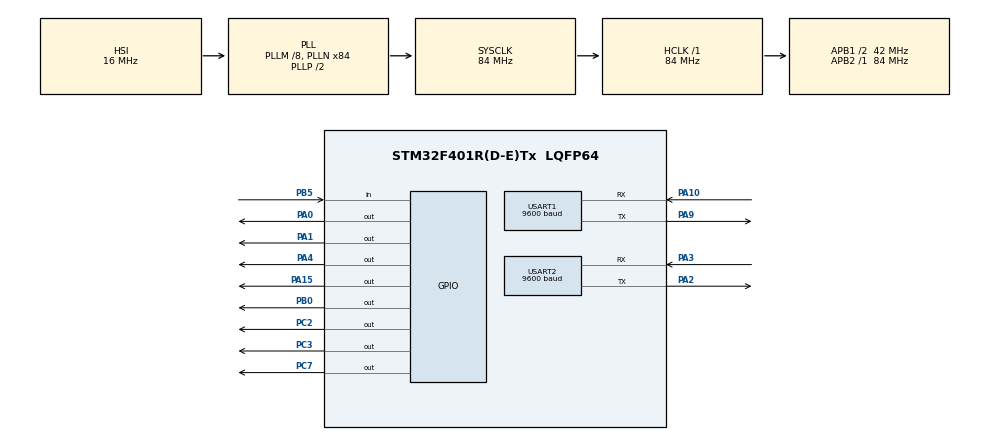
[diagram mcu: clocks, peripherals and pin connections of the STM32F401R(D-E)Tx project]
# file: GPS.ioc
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Dma.Request0=USART1_RX
Dma.USART1_RX.0.Direction=DMA_PERIPH_TO_MEMORY
Dma.USART1_RX.0.FIFOMode=DMA_FIFOMODE_DISABLE
Dma.USART1_RX.0.Instance=DMA2_Stream2
Dma.USART1_RX.0.MemDataAlignment=DMA_MDATAALIGN_BYTE
Dma.USART1_RX.0.MemInc=DMA_MINC_ENABLE
Dma.USART1_RX.0.Mode=DMA_CIRCULAR
Dma.USART1_RX.0.PeriphDataAlignment=DMA_PDATAALIGN_BYTE
Dma.USART1_RX.0.PeriphInc=DMA_PINC_DISABLE
Dma.USART1_RX.0.Priority=DMA_PRIORITY_LOW
Mcu.Family=STM32F4
Mcu.Name=STM32F401R(D-E)Tx
Mcu.Package=LQFP64
NVIC.DMA2_Stream2_IRQn=true\:0\:0\:false\:false\:true\:false\:true\:true
NVIC.PriorityGroup=NVIC_PRIORITYGROUP_4
NVIC.USART2_IRQn=true\:0\:0\:false\:false\:true\:true\:true\:true
PA0-WKUP.Signal=GPIO_Output
PA1.Signal=GPIO_Output
PA10.Mode=Asynchronous
PA10.Signal=USART1_RX
PA13.Mode=Serial_Wire
PA13.Signal=SYS_JTMS-SWDIO
PA14.Mode=Serial_Wire
PA14.Signal=SYS_JTCK-SWCLK
PA15.Signal=GPIO_Output
PA2.Mode=Asynchronous
PA2.Signal=USART2_TX
PA3.Mode=Asynchronous
PA3.Signal=USART2_RX
PA4.Signal=GPIO_Output
PA9.Mode=Asynchronous
PA9.Signal=USART1_TX
PB0.Signal=GPIO_Output
PB5.Signal=GPIO_Input
PC14-OSC32_IN.Mode=LSE-External-Oscillator
PC14-OSC32_IN.Signal=RCC_OSC32_IN
PC15-OSC32_OUT.Mode=LSE-External-Oscillator
PC15-OSC32_OUT.Signal=RCC_OSC32_OUT
PC2.Signal=GPIO_Output
PC3.Signal=GPIO_Output
PC7.Signal=GPIO_Output
PH0\ -\ OSC_IN.Mode=HSE-External-Oscillator
PH0\ -\ OSC_IN.Signal=RCC_OSC_IN
PH1\ -\ OSC_OUT.Mode=HSE-External-Oscillator
PH1\ -\ OSC_OUT.Signal=RCC_OSC_OUT
ProjectManager.HeapSize=0x200
ProjectManager.StackSize=0x400
ProjectManager.TargetToolchain=STM32CubeIDE
RCC.48MHZClocksFreq_Value=42000000
RCC.AHBFreq_Value=84000000
RCC.APB1CLKDivider=RCC_HCLK_DIV2
RCC.APB1Freq_Value=42000000
RCC.APB1TimFreq_Value=84000000
RCC.APB2Freq_Value=84000000
RCC.APB2TimFreq_Value=84000000
RCC.CortexFreq_Value=84000000
RCC.HCLKFreq_Value=84000000
RCC.HSE_VALUE=25000000
RCC.HSI_VALUE=16000000
RCC.PLLM=8
RCC.PLLN=84
RCC.SYSCLKFreq_VALUE=84000000
RCC.SYSCLKSource=RCC_SYSCLKSOURCE_PLLCLK
RCC.VCOOutputFreq_Value=168000000
TIM1.Period=0xffff-1
TIM1.Prescaler=72-1
USART1.BaudRate=9600
USART1.VirtualMode=VM_ASYNC
USART2.BaudRate=9600
USART2.VirtualMode=VM_ASYNC
VP_TIM1_VS_ClockSourceINT.Mode=Internal
board=custom

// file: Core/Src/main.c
/* USER CODE BEGIN Header */
/**
  ******************************************************************************
  * @file           : main.c
  * @brief          : Main program body
  ******************************************************************************
  * @attention
  *
  * Copyright (c) 2024 STMicroelectronics.
  * All rights reserved.
  *
  * This software is licensed under terms that can be found in the LICENSE file
  * in the root directory of this software component.
  * If no LICENSE file comes with this software, it is provided AS-IS.
  *
  ******************************************************************************
  */
/* USER CODE END Header */
#include "main.h"

/* USER CODE BEGIN Includes */
#include <stdio.h>
#include <string.h>
#include <stdlib.h>
#include "LCD1602.h"
#include <math.h>
/* USER CODE END Includes */

TIM_HandleTypeDef htim1;

UART_HandleTypeDef huart1;
UART_HandleTypeDef huart2;
DMA_HandleTypeDef hdma_usart1_rx;

/* USER CODE BEGIN PV */
#define BUFFER_SIZE 128
#define EARTH_RADIUS 6371000
#define WINDOW_SIZE 4
#define MOTION_THRESHOLD  0.005

char message[BUFFER_SIZE];
int bufferIndex = 0;
uint8_t Rxdata[750];
char Txdata[750];
uint8_t Flag=0;

int Hours, Min, Sec;
char *ptr;
char GPS_Payyload[100];

float Time,Latitude,Longitude;

float lat_window[WINDOW_SIZE] = {0};
float lon_window[WINDOW_SIZE] = {0};
int window_index = 0;
int window_filled = 0;
/* USER CODE END PV */

void SystemClock_Config(void);
static void MX_GPIO_Init(void);
static void MX_DMA_Init(void);
static void MX_USART2_UART_Init(void);
static void MX_USART1_UART_Init(void);
static void MX_TIM1_Init(void);
/* USER CODE BEGIN PFP */
void send_message(char *message) {
    HAL_UART_Transmit(&huart2, (uint8_t*)message, strlen(message), HAL_MAX_DELAY);
}
void get_location(void);
void check_PIR_and_control(void);
void Format_data(float Time, float Lat, float Long);
double haversine(double lat1, double lon1, double lat2, double lon2);

/* USER CODE END PFP */

/* USER CODE BEGIN 0 */
int row = 0;
int col = 0;
/* USER CODE END 0 */

int main(void)
{

  /* MCU Configuration--------------------------------------------------------*/

  /* Reset of all peripherals, Initializes the Flash interface and the Systick. */
  HAL_Init();

  /* Configure the system clock */
  SystemClock_Config();

  /* Initialize all configured peripherals */
  MX_GPIO_Init();
  MX_DMA_Init();
  MX_USART2_UART_Init();
  MX_USART1_UART_Init();
  MX_TIM1_Init();
  /* USER CODE BEGIN 2 */
  HAL_UART_Receive_DMA(&huart1, (uint8_t*)Rxdata, 700);
  HAL_TIM_Base_Start(&htim1);

  lcd_init();
  lcd_put_cur(0, 0);
  lcd_send_string("GPS Initializing");
  lcd_put_cur(1, 0);
  lcd_send_string("Please wait...");
  HAL_Delay(3000);
  lcd_clear();
  /* USER CODE END 2 */

  /* Infinite loop */
  while (1)
  {

    /* USER CODE BEGIN 3 */
      get_location();
      //HAL_GPIO_WritePin(GPIOC, GPIO_PIN_7, GPIO_PIN_SET);
      HAL_Delay(1000);  // Update every second
	  //send_message("Hello");
	  //HAL_Delay(1000);
	  //send_message("A message is being sent");
	  //check_PIR_and_control();

  }
  /* USER CODE END 3 */
}

void SystemClock_Config(void)
{
  RCC_OscInitTypeDef RCC_OscInitStruct = {0};
  RCC_ClkInitTypeDef RCC_ClkInitStruct = {0};

  /** Configure the main internal regulator output voltage
  */
  __HAL_RCC_PWR_CLK_ENABLE();
  __HAL_PWR_VOLTAGESCALING_CONFIG(PWR_REGULATOR_VOLTAGE_SCALE2);

  /** Initializes the RCC Oscillators according to the specified parameters
  * in the RCC_OscInitTypeDef structure.
  */
  RCC_OscInitStruct.OscillatorType = RCC_OSCILLATORTYPE_HSI;
  RCC_OscInitStruct.HSIState = RCC_HSI_ON;
  RCC_OscInitStruct.HSICalibrationValue = RCC_HSICALIBRATION_DEFAULT;
  RCC_OscInitStruct.PLL.PLLState = RCC_PLL_ON;
  RCC_OscInitStruct.PLL.PLLSource = RCC_PLLSOURCE_HSI;
  RCC_OscInitStruct.PLL.PLLM = 8;
  RCC_OscInitStruct.PLL.PLLN = 84;
  RCC_OscInitStruct.PLL.PLLP = RCC_PLLP_DIV2;
  RCC_OscInitStruct.PLL.PLLQ = 4;
  if (HAL_RCC_OscConfig(&RCC_OscInitStruct) != HAL_OK)
  {
    Error_Handler();
  }

  /** Initializes the CPU, AHB and APB buses clocks
  */
  RCC_ClkInitStruct.ClockType = RCC_CLOCKTYPE_HCLK|RCC_CLOCKTYPE_SYSCLK
                              |RCC_CLOCKTYPE_PCLK1|RCC_CLOCKTYPE_PCLK2;
  RCC_ClkInitStruct.SYSCLKSource = RCC_SYSCLKSOURCE_PLLCLK;
  RCC_ClkInitStruct.AHBCLKDivider = RCC_SYSCLK_DIV1;
  RCC_ClkInitStruct.APB1CLKDivider = RCC_HCLK_DIV2;
  RCC_ClkInitStruct.APB2CLKDivider = RCC_HCLK_DIV1;

  if (HAL_RCC_ClockConfig(&RCC_ClkInitStruct, FLASH_LATENCY_2) != HAL_OK)
  {
    Error_Handler();
  }
}

static void MX_TIM1_Init(void)
{

  TIM_ClockConfigTypeDef sClockSourceConfig = {0};
  TIM_MasterConfigTypeDef sMasterConfig = {0};

  htim1.Instance = TIM1;
  htim1.Init.Prescaler = 72-1;
  htim1.Init.CounterMode = TIM_COUNTERMODE_UP;
  htim1.Init.Period = 0xffff-1;
  htim1.Init.ClockDivision = TIM_CLOCKDIVISION_DIV1;
  htim1.Init.RepetitionCounter = 0;
  htim1.Init.AutoReloadPreload = TIM_AUTORELOAD_PRELOAD_DISABLE;
  if (HAL_TIM_Base_Init(&htim1) != HAL_OK)
  {
    Error_Handler();
  }
  sClockSourceConfig.ClockSource = TIM_CLOCKSOURCE_INTERNAL;
  if (HAL_TIM_ConfigClockSource(&htim1, &sClockSourceConfig) != HAL_OK)
  {
    Error_Handler();
  }
  sMasterConfig.MasterOutputTrigger = TIM_TRGO_RESET;
  sMasterConfig.MasterSlaveMode = TIM_MASTERSLAVEMODE_DISABLE;
  if (HAL_TIMEx_MasterConfigSynchronization(&htim1, &sMasterConfig) != HAL_OK)
  {
    Error_Handler();
  }

}

static void MX_USART1_UART_Init(void)
{

  huart1.Instance = USART1;
  huart1.Init.BaudRate = 9600;
  huart1.Init.WordLength = UART_WORDLENGTH_8B;
  huart1.Init.StopBits = UART_STOPBITS_1;
  huart1.Init.Parity = UART_PARITY_NONE;
  huart1.Init.Mode = UART_MODE_TX_RX;
  huart1.Init.HwFlowCtl = UART_HWCONTROL_NONE;
  huart1.Init.OverSampling = UART_OVERSAMPLING_16;
  if (HAL_UART_Init(&huart1) != HAL_OK)
  {
    Error_Handler();
  }

}

static void MX_USART2_UART_Init(void)
{

  huart2.Instance = USART2;
  huart2.Init.BaudRate = 9600;
  huart2.Init.WordLength = UART_WORDLENGTH_8B;
  huart2.Init.StopBits = UART_STOPBITS_1;
  huart2.Init.Parity = UART_PARITY_NONE;
  huart2.Init.Mode = UART_MODE_TX_RX;
  huart2.Init.HwFlowCtl = UART_HWCONTROL_NONE;
  huart2.Init.OverSampling = UART_OVERSAMPLING_16;
  if (HAL_UART_Init(&huart2) != HAL_OK)
  {
    Error_Handler();
  }

}

static void MX_DMA_Init(void)
{

  /* DMA controller clock enable */
  __HAL_RCC_DMA2_CLK_ENABLE();

  /* DMA interrupt init */
  /* DMA2_Stream2_IRQn interrupt configuration */
  HAL_NVIC_SetPriority(DMA2_Stream2_IRQn, 0, 0);
  HAL_NVIC_EnableIRQ(DMA2_Stream2_IRQn);

}

static void MX_GPIO_Init(void)
{
  GPIO_InitTypeDef GPIO_InitStruct = {0};

  /* GPIO Ports Clock Enable */
  __HAL_RCC_GPIOC_CLK_ENABLE();
  __HAL_RCC_GPIOH_CLK_ENABLE();
  __HAL_RCC_GPIOA_CLK_ENABLE();
  __HAL_RCC_GPIOB_CLK_ENABLE();

  /*Configure GPIO pin Output Level */
  HAL_GPIO_WritePin(GPIOC, GPIO_PIN_2|GPIO_PIN_3|GPIO_PIN_7, GPIO_PIN_RESET);

  /*Configure GPIO pin Output Level */
  HAL_GPIO_WritePin(GPIOA, GPIO_PIN_0|GPIO_PIN_1|GPIO_PIN_4|GPIO_PIN_15, GPIO_PIN_RESET);

  /*Configure GPIO pin Output Level */
  HAL_GPIO_WritePin(GPIOB, GPIO_PIN_0, GPIO_PIN_RESET);

  /*Configure GPIO pins : PC2 PC3 PC7 */
  GPIO_InitStruct.Pin = GPIO_PIN_2|GPIO_PIN_3|GPIO_PIN_7;
  GPIO_InitStruct.Mode = GPIO_MODE_OUTPUT_PP;
  GPIO_InitStruct.Pull = GPIO_NOPULL;
  GPIO_InitStruct.Speed = GPIO_SPEED_FREQ_LOW;
  HAL_GPIO_Init(GPIOC, &GPIO_InitStruct);

  /*Configure GPIO pins : PA0 PA1 PA4 PA15 */
  GPIO_InitStruct.Pin = GPIO_PIN_0|GPIO_PIN_1|GPIO_PIN_4|GPIO_PIN_15;
  GPIO_InitStruct.Mode = GPIO_MODE_OUTPUT_PP;
  GPIO_InitStruct.Pull = GPIO_NOPULL;
  GPIO_InitStruct.Speed = GPIO_SPEED_FREQ_LOW;
  HAL_GPIO_Init(GPIOA, &GPIO_InitStruct);

  /*Configure GPIO pin : PB0 */
  GPIO_InitStruct.Pin = GPIO_PIN_0;
  GPIO_InitStruct.Mode = GPIO_MODE_OUTPUT_PP;
  GPIO_InitStruct.Pull = GPIO_NOPULL;
  GPIO_InitStruct.Speed = GPIO_SPEED_FREQ_LOW;
  HAL_GPIO_Init(GPIOB, &GPIO_InitStruct);

  /*Configure GPIO pin : PB5 */
  GPIO_InitStruct.Pin = GPIO_PIN_5;
  GPIO_InitStruct.Mode = GPIO_MODE_INPUT;
  GPIO_InitStruct.Pull = GPIO_NOPULL;
  HAL_GPIO_Init(GPIOB, &GPIO_InitStruct);

}

/* USER CODE BEGIN 4 */
void HAL_UART_RxCpltCallback(UART_HandleTypeDef *huart){
	Flag = 1;
}
void get_location(void) {
    char *ptr = strstr((char*)Rxdata, "$GPRMC");
    if (ptr) {
        char *end = strchr(ptr, '\n');
        if (end) {
            *end = '\0';
            sscanf(ptr, "$GPRMC,%f,A,%f,N,%f,", &Time, &Latitude, &Longitude);

            // Add new coordinates to the sliding window
            lat_window[window_index] = Latitude;
            lon_window[window_index] = Longitude;
            window_index = (window_index + 1) % WINDOW_SIZE;

            if (window_index == 0) {
                window_filled = 1;
            }

            if (window_filled) {
                float lat_diff = 0, lon_diff = 0;
                for (int i = 0; i < WINDOW_SIZE - 1; i++) {
                    lat_diff += fabs(lat_window[i] - lat_window[i+1]);
                    lon_diff += fabs(lon_window[i] - lon_window[i+1]);
                }

                float avg_movement = (lat_diff + lon_diff) / (2 * (WINDOW_SIZE - 1));
                GPIO_PinState pirState = HAL_GPIO_ReadPin(GPIOB, GPIO_PIN_5);
                if (avg_movement > MOTION_THRESHOLD && pirState == GPIO_PIN_SET) {
                    // Motion detected by both GPS and PIR sensor
                    HAL_GPIO_WritePin(GPIOC, GPIO_PIN_7, GPIO_PIN_SET);
                    char motion_msg[50];
                    snprintf(motion_msg, sizeof(motion_msg), "Motion detected: %.6f\r\n", avg_movement);
                    send_message(motion_msg);
                    send_message("PIR sensor: Motion detected!\r\n");
                } else {
                    // No motion or only partial detection
                    HAL_GPIO_WritePin(GPIOC, GPIO_PIN_7, GPIO_PIN_RESET);
                    if (avg_movement > MOTION_THRESHOLD) {
                        send_message("GPS movement detected, but no PIR trigger.\r\n");
                    } else if (pirState == GPIO_PIN_SET) {
                        send_message("PIR triggered, but no significant GPS movement.\r\n");
                    }
                }
            }
            Format_data(Time, Latitude, Longitude);
        }
    }
    HAL_UART_Receive_DMA(&huart1, (uint8_t*)Rxdata, sizeof(Rxdata));
}
void Format_data(float Time, float Latitude, float Longitude) {
    int hours, minutes, seconds;
    hours = ((int)Time / 10000) % 100;
    minutes = ((int)Time % 10000) / 100;
    seconds = (int)Time % 100;

    int adjusted_hours = hours - 5;
    if (adjusted_hours < 0) {
        adjusted_hours += 24;
    }

    char data[150];
    sprintf(data, "\r\n=============================\n"
                  "Time: %02d:%02d:%02d (EST)\n"
                  "Latitude: %.6f\n"
                  "Longitude: %.6f\n"
                  "=============================\n",
            adjusted_hours, minutes, seconds, Latitude, Longitude);

    send_message(data);
    send_message("\r\n");

    lcd_clear();
    lcd_put_cur(0, 0);
    char time_str[17];
    snprintf(time_str, sizeof(time_str), "Time: %02d:%02d:%02d", adjusted_hours, minutes, seconds);
    lcd_send_string(time_str);

    lcd_put_cur(1, 0);
    char coord_str[17];
    snprintf(coord_str, sizeof(coord_str), "La:%.0f Lo:%.0f", Latitude, Longitude);
    lcd_send_string(coord_str);
}
void check_PIR_and_control(void) {
    // Read the PIR sensor state
    GPIO_PinState pirState = HAL_GPIO_ReadPin(GPIOB, GPIO_PIN_5);

    if (pirState == GPIO_PIN_SET) {
        // Motion detected
    	send_message("Motion detected!\r\n");
    } else {
        // No motion detected
    	send_message("No motion detected.\r\n");
    }

}
double haversine(double lat1, double lon1, double lat2, double lon2) {
    double dLat = (lat2 - lat1) * M_PI / 180.0;
    double dLon = (lon2 - lon1) * M_PI / 180.0;

    lat1 = lat1 * M_PI / 180.0;
    lat2 = lat2 * M_PI / 180.0;

    double a = sin(dLat/2) * sin(dLat/2) +
               sin(dLon/2) * sin(dLon/2) * cos(lat1) * cos(lat2);
    double c = 2 * atan2(sqrt(a), sqrt(1-a));
    return EARTH_RADIUS * c;
}
/* USER CODE END 4 */

void Error_Handler(void)
{
  __disable_irq();
  while (1)
  {
  }
}
